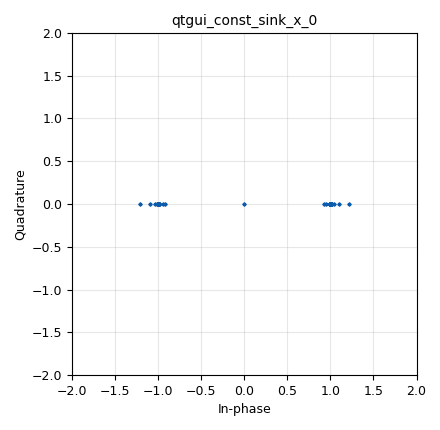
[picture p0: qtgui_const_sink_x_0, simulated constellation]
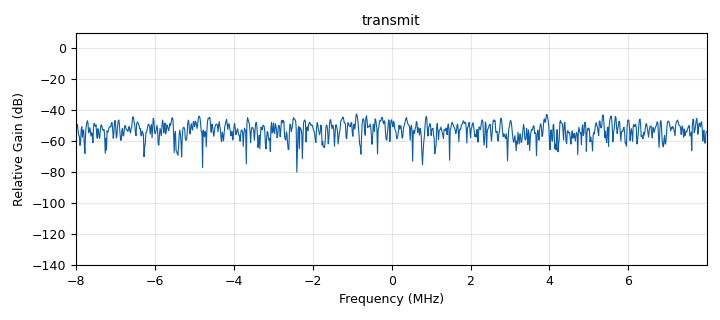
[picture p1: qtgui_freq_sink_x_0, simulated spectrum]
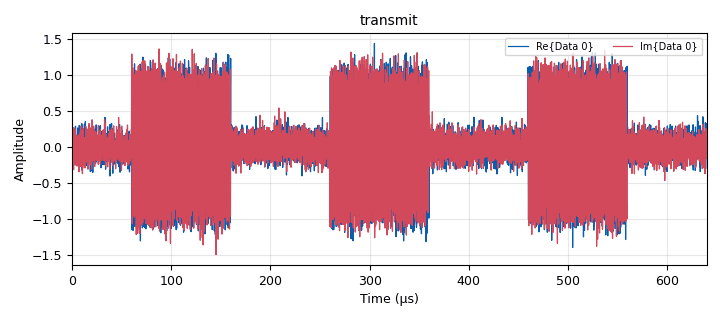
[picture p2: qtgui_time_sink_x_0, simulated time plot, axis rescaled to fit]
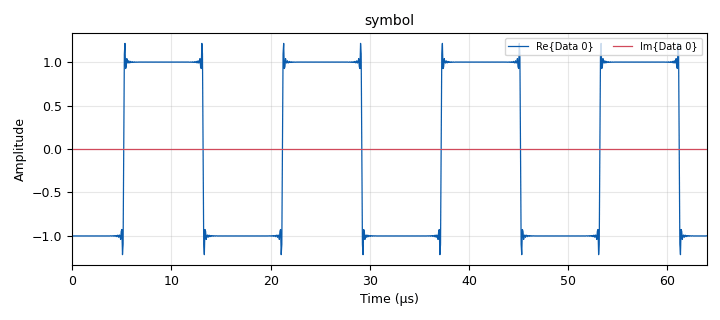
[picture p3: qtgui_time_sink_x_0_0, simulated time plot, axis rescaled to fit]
options:
  parameters:
    author: zhouzinan
    generate_options: qt_gui
    id: mod_pulse_bpsk
    output_language: python
    title: mod_pulse_bpsk
  states: {}

blocks:
- name: SNR
  id: variable_qtgui_range
  parameters:
    gui_hint: 0,0
    start: '-5'
    step: '1'
    stop: '15'
    value: '15'
  states: {}
- name: bpsk
  id: variable_constellation
  parameters:
    precision: '8'
    type: bpsk
  states: {}
- name: carrier_freq
  id: variable
  parameters:
    value: 1e6
  states: {}
- name: device
  id: variable
  parameters:
    value: '"device_0"'
  states: {}
- name: excess_bw
  id: variable
  parameters:
    value: '350e-3'
  states: {}
- name: gain_range
  id: variable_qtgui_range
  parameters:
    gui_hint: 3,0
    start: '0'
    step: '10'
    stop: '50'
    value: '40'
  states: {state: disabled}
- name: mod_freq
  id: variable
  parameters:
    value: 10e3
  states: {}
- name: noise_power
  id: variable
  parameters:
    value: signal_power/pow(10, SNR/10)
  states: {}
- name: phase_symbol_width
  id: variable
  parameters:
    value: '8e-6'
  states: {}
- name: pri
  id: variable_qtgui_range
  parameters:
    gui_hint: 1,0
    start: '0'
    step: '10e-6'
    stop: '1e-3'
    value: '200e-6'
  states: {}
- name: pw
  id: variable_qtgui_range
  parameters:
    gui_hint: 2,0
    start: '0'
    step: '1e-6'
    stop: '500e-6'
    value: '100e-6'
  states: {}
- name: rcc_taps
  id: variable
  parameters:
    value: firdes.root_raised_cosine(1.0, samp_rate, samp_rate/sps, excess_bw, 11*sps)
  states: {}
- name: rf_freq
  id: variable
  parameters:
    value: 1e9
  states: {}
- name: samp_rate
  id: variable
  parameters:
    value: 16e6
  states: {}
- name: signal_power
  id: variable
  parameters:
    value: '0.5'
  states: {}
- name: sps
  id: variable
  parameters:
    value: '2'
  states: {}
- name: analog_agc_xx_0
  id: analog_agc_xx
  parameters:
    gain: '1.0'
    max_gain: '65536'
    rate: '1e-4'
    reference: '1.0'
    type: complex
  states: {state: disabled}
- name: analog_random_source_x_0
  id: analog_random_source_x
  parameters:
    max: '2'
    min: '0'
    num_samps: '1000'
    repeat: 'True'
    type: byte
  states: {state: disabled}
- name: analog_sig_source_x_0
  id: analog_sig_source_x
  parameters:
    amp: '1'
    freq: 1000e3
    offset: '0'
    phase: '0'
    samp_rate: samp_rate
    type: complex
    waveform: analog.GR_COS_WAVE
  states: {}
- name: analog_sig_source_x_1
  id: analog_sig_source_x
  parameters:
    amp: '1'
    freq: mod_freq/2
    offset: '0'
    phase: '0'
    samp_rate: samp_rate
    type: float
    waveform: analog.GR_SQR_WAVE
  states: {}
- name: blocks_complex_to_float_0
  id: blocks_complex_to_float
  parameters: {}
  states: {}
- name: blocks_file_sink_0
  id: blocks_file_sink
  parameters:
    file: '"/home/zhouzinan/Documents/IndividualRadar/dataset_grc/all_mod_3.0/BPSK/{}".format(device)'
    type: complex
  states: {state: disabled}
- name: blocks_float_to_complex_0
  id: blocks_float_to_complex
  parameters: {}
  states: {}
- name: blocks_multiply_const_vxx_0
  id: blocks_multiply_const_vxx
  parameters:
    const: 1/2
    type: complex
  states: {state: disabled}
- name: blocks_multiply_xx_0
  id: blocks_multiply_xx
  parameters:
    type: complex
  states: {}
- name: blocks_multiply_xx_1
  id: blocks_multiply_xx
  parameters:
    type: float
  states: {}
- name: blocks_multiply_xx_1_0
  id: blocks_multiply_xx
  parameters:
    type: float
  states: {}
- name: blocks_skiphead_0
  id: blocks_skiphead
  parameters:
    num_items: int(samp_rate*2)
    type: complex
  states: {state: disabled}
- name: blocks_unpack_k_bits_bb_0
  id: blocks_unpack_k_bits_bb
  parameters:
    k: int(phase_symbol_width*1e6)
  states: {}
- name: blocks_vector_source_x_0
  id: blocks_vector_source_x
  parameters:
    repeat: 'True'
    type: float
    vector: np.hstack((np.ones(int(pw*samp_rate)), np.zeros(int((pri-pw)*samp_rate))))
  states: {state: disabled}
- name: blocks_vector_source_x_1
  id: blocks_vector_source_x
  parameters:
    repeat: 'True'
    type: byte
    vector: '[1]'
  states: {}
- name: channels_channel_model_0
  id: channels_channel_model
  parameters:
    epsilon: '1.0'
    freq_offset: '0.0'
    noise_voltage: pow(noise_power*2, 1/2)
    seed: '0'
    taps: '1'
  states: {}
- name: device_0
  id: parameter
  parameters:
    value: '"232057"'
  states: {}
- name: device_1
  id: parameter
  parameters:
    value: '"8243c3"'
  states: {}
- name: device_2
  id: parameter
  parameters:
    value: '"90a7c7"'
  states: {}
- name: device_3
  id: parameter
  parameters:
    value: '"4a0a4f"'
  states: {}
- name: device_4
  id: parameter
  parameters:
    value: '"24644f"'
  states: {}
- name: device_5
  id: parameter
  parameters:
    value: '"6f2e4f"'
  states: {}
- name: device_6
  id: parameter
  parameters:
    value: '"53454f"'
  states: {}
- name: digital_constellation_modulator_0
  id: digital_constellation_modulator
  parameters:
    constellation: bpsk
    differential: 'True'
    excess_bw: excess_bw
    samples_per_symbol: sps
  states: {}
- name: import_0
  id: import
  parameters:
    imports: import numpy as np
  states: {}
- name: osmosdr_sink_0
  id: osmosdr_sink
  parameters:
    args: '"hackrf={}".format(eval(device))'
    bb_gain0: '20'
    freq0: rf_freq
    gain0: '11'
    if_gain0: '47'
    sample_rate: samp_rate
    sync: sync
    type: fc32
  states: {state: disabled}
- name: parameter_0
  id: parameter
  parameters:
    label: '"Vector Source"'
    value: '"vector中每个point对应一个采样点"'
  states: {}
- name: parameter_1
  id: parameter
  parameters:
    label: '"Unpack K Bits"'
    value: '"将每个Byte输入的K个Bits作为的K个Bytes，每一个Byte为一个新的采样点"'
  states: {}
- name: parameter_2
  id: parameter
  parameters:
    label: '"Vector Output"'
    value: '"Unpack输出为[0, 0, 0, 0, 0, 0, 0, 1]"'
  states: {}
- name: parameter_3
  id: parameter
  parameters:
    label: phase_symbol_width
    value: '"每个编码持续的时间"'
  states: {}
- name: qtgui_const_sink_x_0
  id: qtgui_const_sink_x
  parameters:
    size: '1024'
    type: complex
  states: {}
- name: qtgui_freq_sink_x_0
  id: qtgui_freq_sink_x
  parameters:
    bw: samp_rate
    fc: '0'
    fftsize: '1024'
    name: '"transmit"'
    type: complex
  states: {}
- name: qtgui_freq_sink_x_1
  id: qtgui_freq_sink_x
  parameters:
    bw: samp_rate
    fc: '0'
    fftsize: 1024*4
    name: '"receive"'
    type: complex
  states: {state: disabled}
- name: qtgui_time_sink_x_0
  id: qtgui_time_sink_x
  parameters:
    name: '"transmit"'
    size: '10240'
    srate: samp_rate
    type: complex
  states: {}
- name: qtgui_time_sink_x_0_0
  id: qtgui_time_sink_x
  parameters:
    name: '"symbol"'
    size: '1024'
    srate: samp_rate
    type: complex
  states: {}
- name: qtgui_time_sink_x_1
  id: qtgui_time_sink_x
  parameters:
    name: '"receive"'
    size: '10240'
    srate: samp_rate
    type: complex
  states: {state: disabled}
- name: qtgui_waterfall_sink_x_0
  id: qtgui_waterfall_sink_x
  parameters:
    bw: samp_rate
    fc: '0'
    fftsize: '1024'
    name: '"receive"'
    type: complex
  states: {state: disabled}
- name: uhd_usrp_source_0
  id: uhd_usrp_source
  parameters:
    ant0: TX/RX
    center_freq0: rf_freq
    dev_args: '""'
    gain0: gain_range
    samp_rate: samp_rate
    sync: sync
    type: fc32
  states: {state: disabled}

connections:
- [analog_agc_xx_0, '0', blocks_multiply_const_vxx_0, '0']
- [analog_random_source_x_0, '0', blocks_unpack_k_bits_bb_0, '0']
- [analog_sig_source_x_0, '0', blocks_multiply_xx_0, '1']
- [analog_sig_source_x_1, '0', blocks_multiply_xx_1, '1']
- [analog_sig_source_x_1, '0', blocks_multiply_xx_1_0, '1']
- [blocks_complex_to_float_0, '0', blocks_multiply_xx_1, '0']
- [blocks_complex_to_float_0, '1', blocks_multiply_xx_1_0, '0']
- [blocks_float_to_complex_0, '0', channels_channel_model_0, '0']
- [blocks_multiply_const_vxx_0, '0', blocks_skiphead_0, '0']
- [blocks_multiply_const_vxx_0, '0', qtgui_freq_sink_x_1, '0']
- [blocks_multiply_const_vxx_0, '0', qtgui_time_sink_x_1, '0']
- [blocks_multiply_const_vxx_0, '0', qtgui_waterfall_sink_x_0, '0']
- [blocks_multiply_xx_0, '0', blocks_complex_to_float_0, '0']
- [blocks_multiply_xx_1, '0', blocks_float_to_complex_0, '0']
- [blocks_multiply_xx_1_0, '0', blocks_float_to_complex_0, '1']
- [blocks_skiphead_0, '0', blocks_file_sink_0, '0']
- [blocks_unpack_k_bits_bb_0, '0', digital_constellation_modulator_0, '0']
- [blocks_vector_source_x_0, '0', blocks_multiply_xx_1, '1']
- [blocks_vector_source_x_0, '0', blocks_multiply_xx_1_0, '1']
- [blocks_vector_source_x_1, '0', blocks_unpack_k_bits_bb_0, '0']
- [channels_channel_model_0, '0', osmosdr_sink_0, '0']
- [channels_channel_model_0, '0', qtgui_freq_sink_x_0, '0']
- [channels_channel_model_0, '0', qtgui_time_sink_x_0, '0']
- [digital_constellation_modulator_0, '0', blocks_multiply_xx_0, '0']
- [digital_constellation_modulator_0, '0', qtgui_const_sink_x_0, '0']
- [digital_constellation_modulator_0, '0', qtgui_time_sink_x_0_0, '0']
- [uhd_usrp_source_0, '0', analog_agc_xx_0, '0']

metadata:
  file_format: 1
  grc_version: 3.10.6.0
